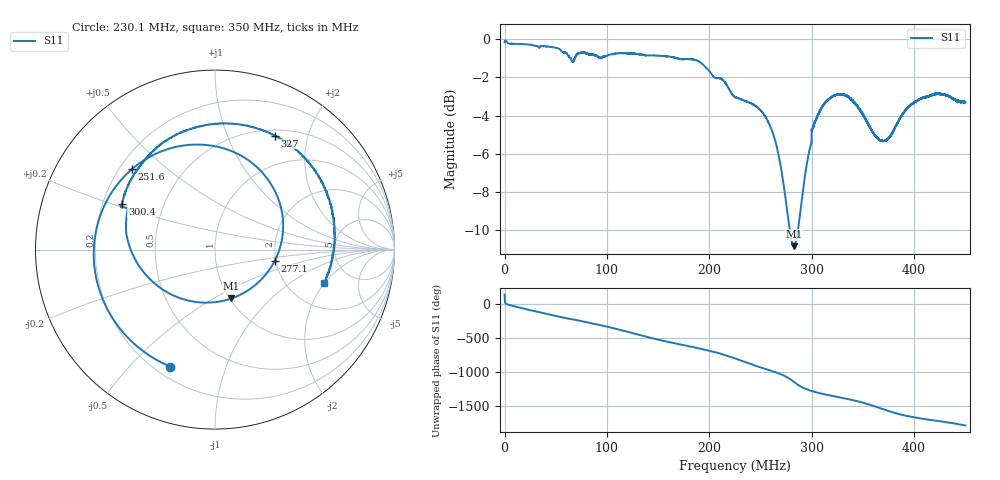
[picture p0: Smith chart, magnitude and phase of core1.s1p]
# HZ S RI R 50
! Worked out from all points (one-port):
!   10100 points, 50 kHz to 450.3 MHz, reference 50 ohm
!   lowest |S11| = -10.8 dB at 282.8 MHz (marker M1), VSWR 1.80, Z = 50.9 - j30.2 ohm
!   |S11| at or under -10 dB: 278.6 MHz to 286.6 MHz (8.081 MHz wide, 2.86 % of centre)
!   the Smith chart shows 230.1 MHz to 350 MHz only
!   S11 on the Smith chart (normalised r, x): 230.1 MHz: 0.26, -0.66; 251.6 MHz: 0.25, +0.38; 277.1 MHz: 1.97, -0.28; 300.4 MHz: 0.28, +0.22; 327 MHz: 0.57, +1.50; 350 MHz: 3.16, -1.99
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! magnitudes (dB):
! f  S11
! 50 kHz  -0.2
! 56.35 MHz  -0.7
! 66.52 MHz  -1.2
! 74.32 MHz  -0.7
! 112.6 MHz  -0.7
! 168.9 MHz  -1.0
! 190.8 MHz  -1.2
! 225.2 MHz  -3.0
! 230.1 MHz  -3.1
! 251.6 MHz  -3.8
! 265.7 MHz  -5.6
! 271 MHz  -7.0
! 277.1 MHz  -9.4
! 281.4 MHz  -10.8
! 282.8 MHz  -10.8
! 286.2 MHz  -10.2
! 294.1 MHz  -6.9
! 300.4 MHz  -4.8
! 302.3 MHz  -4.5
! 310.9 MHz  -3.5
! 327 MHz  -2.9
! 337.7 MHz  -3.1
! 350 MHz  -3.9
! 362.4 MHz  -5.1
! 371.1 MHz  -5.3
! 394 MHz  -3.6
! 421.9 MHz  -2.9
! 450.3 MHz  -3.3
